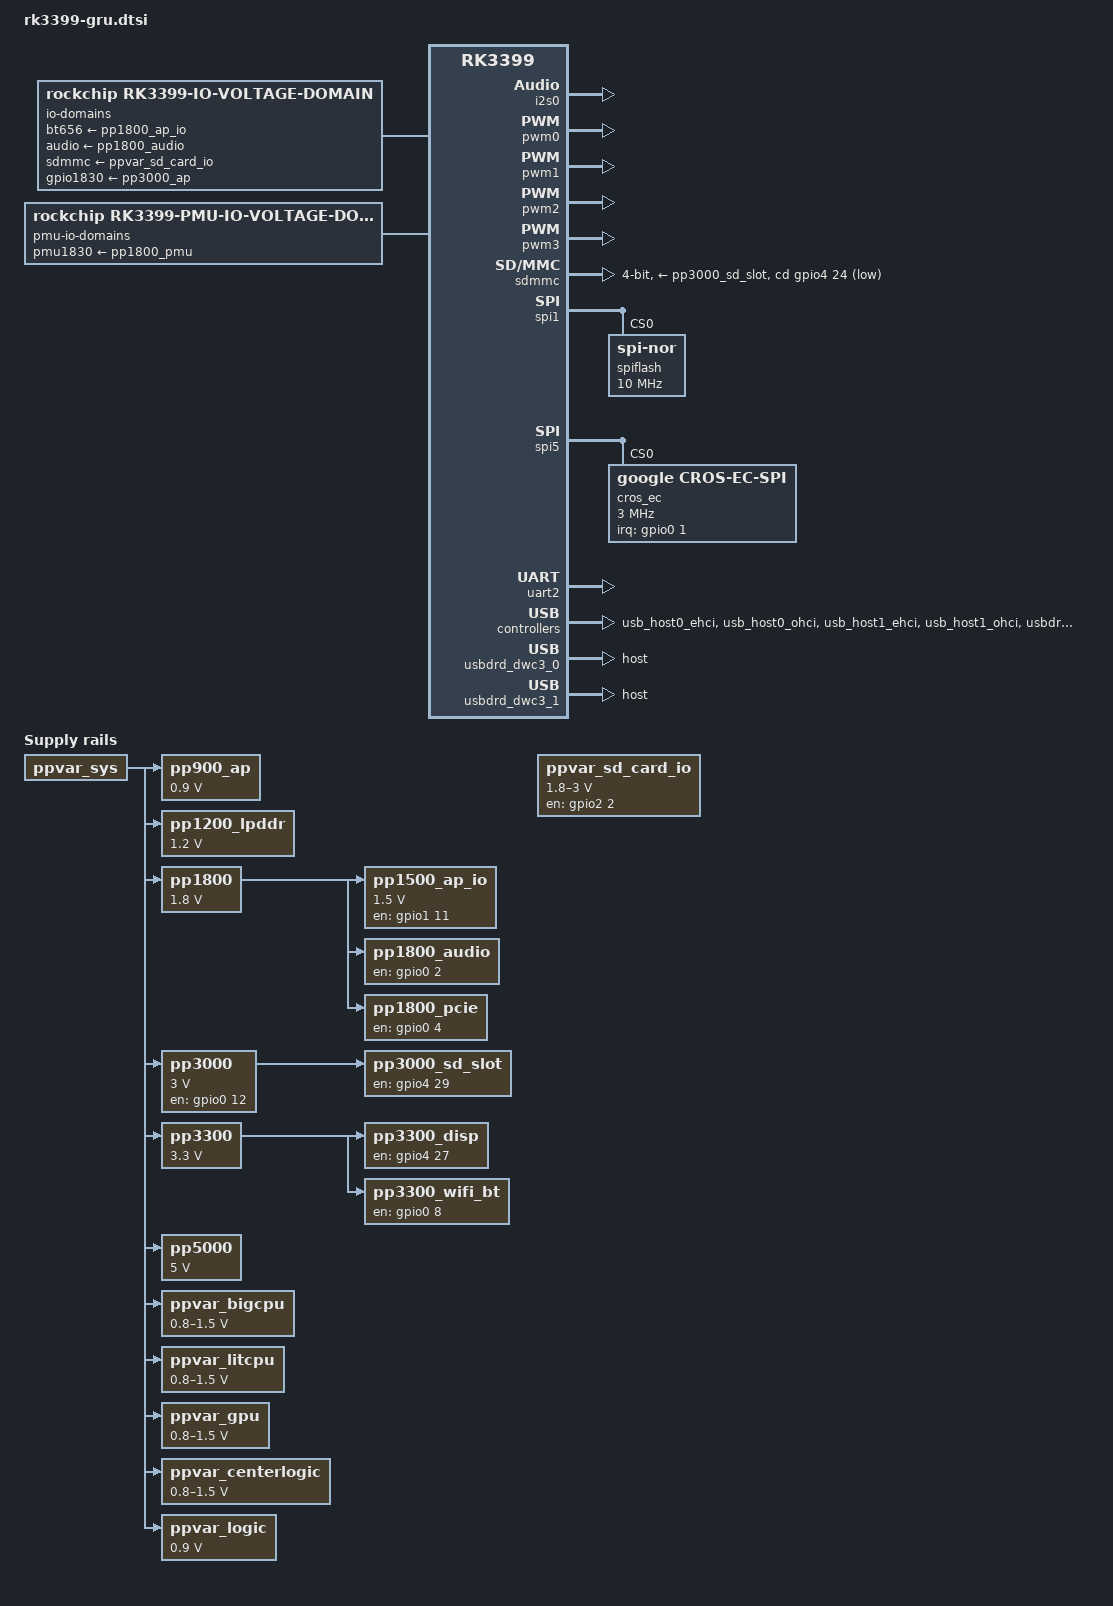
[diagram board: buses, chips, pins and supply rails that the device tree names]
/*
 * Google Gru (and derivatives) board device tree source
 *
 * Copyright 2016 Google, Inc
 *
 * This file is dual-licensed: you can use it either under the terms
 * of the GPL or the X11 license, at your option. Note that this dual
 * licensing only applies to this file, and not this project as a
 * whole.
 *
 *  a) This file is free software; you can redistribute it and/or
 *     modify it under the terms of the GNU General Public License as
 *     published by the Free Software Foundation; either version 2 of the
 *     License, or (at your option) any later version.
 *
 *     This file is distributed in the hope that it will be useful,
 *     but WITHOUT ANY WARRANTY; without even the implied warranty of
 *     MERCHANTABILITY or FITNESS FOR A PARTICULAR PURPOSE.  See the
 *     GNU General Public License for more details.
 *
 *  Or, alternatively,
 *
 *  b) Permission is hereby granted, free of charge, to any person
 *     obtaining a copy of this software and associated documentation
 *     files (the "Software"), to deal in the Software without
 *     restriction, including without limitation the rights to use,
 *     copy, modify, merge, publish, distribute, sublicense, and/or
 *     sell copies of the Software, and to permit persons to whom the
 *     Software is furnished to do so, subject to the following
 *     conditions:
 *
 *     The above copyright notice and this permission notice shall be
 *     included in all copies or substantial portions of the Software.
 *
 *     THE SOFTWARE IS PROVIDED "AS IS", WITHOUT WARRANTY OF ANY KIND,
 *     EXPRESS OR IMPLIED, INCLUDING BUT NOT LIMITED TO THE WARRANTIES
 *     OF MERCHANTABILITY, FITNESS FOR A PARTICULAR PURPOSE AND
 *     NONINFRINGEMENT. IN NO EVENT SHALL THE AUTHORS OR COPYRIGHT
 *     HOLDERS BE LIABLE FOR ANY CLAIM, DAMAGES OR OTHER LIABILITY,
 *     WHETHER IN AN ACTION OF CONTRACT, TORT OR OTHERWISE, ARISING
 *     FROM, OUT OF OR IN CONNECTION WITH THE SOFTWARE OR THE USE OR
 *     OTHER DEALINGS IN THE SOFTWARE.
 */

#include <dt-bindings/input/input.h>
#include <dt-bindings/pwm/pwm.h>
#include "rk3399.dtsi"

/ {
	/*
	 * Power Tree
	 *
	 * In general an attempt is made to include all rails called out by
	 * the schematic as long as those rails interact in some way with
	 * the AP.  AKA:
	 * - Rails that only connect to the EC (or devices that the EC talks to)
	 *   are not included.
	 * - Rails _are_ included if the rails go to the AP even if the AP
	 *   doesn't currently care about them / they are always on.  The idea
	 *   here is that it makes it easier to map to the schematic or extend
	 *   later.
	 *
	 * If two rails are substantially the same from the AP's point of
	 * view, though, we won't create a full fixed regulator.  We'll just
	 * put the child rail as an alias of the parent rail.  Sometimes rails
	 * look the same to the AP because one of these is true:
	 * - The EC controls the enable and the EC always enables a rail as
	 *   long as the AP is running.
	 * - The rails are actually connected to each other by a jumper and
	 *   the distinction is just there to add clarity/flexibility to the
	 *   schematic.
	 */

	/* parentless regulators */

	ppvar_sys: ppvar-sys {
		compatible = "regulator-fixed";
		regulator-name = "ppvar_sys";
		regulator-always-on;
		regulator-boot-on;
	};

	/* ppvar_sys children, sorted by name */

	pp900_ap: pp900-ap {
		compatible = "regulator-fixed";
		regulator-name = "pp900_ap";

		/* EC turns on w/ pp900_ap_en; always on for AP */
		regulator-always-on;
		regulator-boot-on;

		regulator-min-microvolt = <900000>;
		regulator-max-microvolt = <900000>;

		vin-supply = <&ppvar_sys>;
	};

	pp1200_lpddr: pp1200-lpddr {
		compatible = "regulator-fixed";
		regulator-name = "pp1200_lpddr";

		/* EC turns on w/ lpddr_pwr_en; always on for AP */
		regulator-always-on;
		regulator-boot-on;

		regulator-min-microvolt = <1200000>;
		regulator-max-microvolt = <1200000>;

		vin-supply = <&ppvar_sys>;
	};

	pp1800: pp1800 {
		compatible = "regulator-fixed";
		regulator-name = "pp1800";

		/* Always on when ppvar_sys shows power good */
		regulator-always-on;
		regulator-boot-on;

		regulator-min-microvolt = <1800000>;
		regulator-max-microvolt = <1800000>;
		vin-supply = <&ppvar_sys>;
	};

	pp3000: pp3000 {
		compatible = "regulator-fixed";
		regulator-name = "pp3000";
		pinctrl-names = "default";
		pinctrl-0 = <&pp3000_en>;

		enable-active-high;
		gpio = <&gpio0 12 GPIO_ACTIVE_HIGH>;

		regulator-always-on;
		regulator-boot-on;

		regulator-min-microvolt = <3000000>;
		regulator-max-microvolt = <3000000>;

		vin-supply = <&ppvar_sys>;
	};

	pp3300: pp3300 {
		compatible = "regulator-fixed";
		regulator-name = "pp3300";

		/* Always on; plain and simple */
		regulator-always-on;
		regulator-boot-on;

		regulator-min-microvolt = <3300000>;
		regulator-max-microvolt = <3300000>;

		vin-supply = <&ppvar_sys>;
	};

	pp5000: pp5000 {
		compatible = "regulator-fixed";
		regulator-name = "pp5000";

		/* EC turns on w/ pp5000_en; always on for AP */
		regulator-always-on;
		regulator-boot-on;

		regulator-min-microvolt = <5000000>;
		regulator-max-microvolt = <5000000>;

		vin-supply = <&ppvar_sys>;
	};

	ppvar_bigcpu: ppvar-bigcpu {
		compatible = "pwm-regulator";
		regulator-name = "ppvar_bigcpu";
		status = "okay";

		pwms = <&pwm1 0 3333 0>;

		// TODO: where's the mapping of duty cycle to voltage???
		// TODO: we probably need in-flight PWM regulator series?

		/* EC turns on w/ ap_core_en; always on for AP */
		regulator-always-on;
		regulator-boot-on;

		regulator-min-microvolt = <800000>;
		regulator-max-microvolt = <1500000>;

		pwm-supply = <&ppvar_sys>;
	};

	ppvar_litcpu: ppvar-litcpu {
		compatible = "pwm-regulator";
		regulator-name = "ppvar_litcpu";
		status = "okay";

		pwms = <&pwm2 0 3333 0>;

		/* EC turns on w/ ap_core_en; always on for AP */
		regulator-always-on;
		regulator-boot-on;

		regulator-min-microvolt = <800000>;
		regulator-max-microvolt = <1500000>;

		pwm-supply = <&ppvar_sys>;
	};

	ppvar_gpu: ppvar-gpu {
		compatible = "pwm-regulator";
		regulator-name = "ppvar_gpu";
		status = "okay";

		pwms = <&pwm0 0 3333 0>;

		/* EC turns on w/ ap_core_en; always on for AP */
		regulator-always-on;
		regulator-boot-on;

		regulator-min-microvolt = <800000>;
		regulator-max-microvolt = <1500000>;

		pwm-supply = <&ppvar_sys>;
	};

	ppvar_centerlogic: ppvar-centerlogic {
		compatible = "pwm-regulator";
		regulator-name = "ppvar_centerlogic";
		status = "okay";

		pwms = <&pwm3 0 3333 0>;

		/* EC turns on w/ ppvar_centerlogic_en; always on for AP */
		regulator-always-on;
		regulator-boot-on;

		regulator-min-microvolt = <800000>;
		regulator-max-microvolt = <1500000>;

		pwm-supply = <&ppvar_sys>;
	};

	/* Schematics call this PPVAR even though it's fixed */
	ppvar_logic: ppvar-logic {
		compatible = "regulator-fixed";
		regulator-name = "ppvar_logic";

		/* EC turns on w/ ppvar_logic_en; always on for AP */
		regulator-always-on;
		regulator-boot-on;

		regulator-min-microvolt = <900000>;
		regulator-max-microvolt = <900000>;

		vin-supply = <&ppvar_sys>;
	};

	/* pp900_ap aliases; these are always on for AP so just use alias */

	/* EC turns on w/ pp900_ddrpll_en */
	pp900_ddrpll: pp900_ap {
	};

	/* EC turns on w/ pp900_pcie_en */
	pp900_pcie: pp900_ap {
	};

	/* EC turns on w/ pp900_pll_en */
	pp900_pll: pp900_ap {
	};

	/* EC turns on w/ pp900_pmu_en */
	pp900_pmu: pp900_ap {
	};

	/* EC turns on w/ pp900_usb_en */
	pp900_usb: pp900_ap {
	};

	/* pp1800 aliases; these are always on for AP so just use alias */

	/* EC turns on w/ pp1800_s0_en_l */
	pp1800_ap_io: pp1800_emmc: pp1800_nfc: pp1800_s0: pp1800 {
	};

	/* EC turns on w/ pp1800_avdd_en_l */
	pp1800_avdd: pp1800 {
	};

	/* EC turns on w/ pp1800_lid_en_l */
	pp1800_lid: pp1800_mic: pp1800 {
	};

	/* EC turns on w/ lpddr_pwr_en */
	pp1800_lpddr: pp1800 {
	};

	/* EC turns on w/ pp1800_pmu_en_l */
	pp1800_pmu: pp1800 {
	};

	/* EC turns on w/ pp1800_usb_en_l */
	pp1800_usb: pp1800 {
	};

	/* pp1800 children */

	pp1500_ap_io: pp1500-ap-io {
		compatible = "regulator-fixed";
		regulator-name = "pp1500_ap_io";
		pinctrl-names = "default";
		pinctrl-0 = <&pp1500_en>;

		enable-active-high;
		gpio = <&gpio1 11 GPIO_ACTIVE_HIGH>;

		regulator-always-on;
		regulator-boot-on;
		regulator-min-microvolt = <1500000>;
		regulator-max-microvolt = <1500000>;

		vin-supply = <&pp1800>;
	};

	pp1800_audio: pp1800-audio {
		compatible = "regulator-fixed";
		regulator-name = "pp1800_audio";
		pinctrl-names = "default";
		pinctrl-0 = <&pp1800_audio_en>;

		regulator-always-on;
		regulator-boot-on;

		enable-active-high;
		gpio = <&gpio0 2 GPIO_ACTIVE_HIGH>;

		vin-supply = <&pp1800>;
	};

	pp1800_pcie: pp1800-pcie {
		compatible = "regulator-fixed";
		regulator-name = "pp1800_pcie";
		pinctrl-names = "default";
		pinctrl-0 = <&wlan_module_pd_l>;

		enable-active-high;
		gpio = <&gpio0 4 GPIO_ACTIVE_HIGH>;

		vin-supply = <&pp1800>;
	};

	/* pp3000 aliases; these are always on for AP so just use alias */

	/* Always on; plain and simple */
	pp3000_ap: pp3000_emmc: pp3000 {
	};

	/* pp3000 children */

	pp3000_sd_slot: pp3000-sd-slot {
		compatible = "regulator-fixed";
		regulator-name = "pp3000_sd_slot";
		pinctrl-names = "default";
		pinctrl-0 = <&sd_slot_pwr_en>;

		enable-active-high;
		gpio = <&gpio4 29 GPIO_ACTIVE_HIGH>;

		vin-supply = <&pp3000>;
	};

	ppvar_sd_card_io: ppvar-sd-card-io {
		compatible = "regulator-gpio";
		regulator-name = "ppvar_sd_card_io";
		pinctrl-names = "default";
		pinctrl-0 = <&sd_io_pwr_en &sd_pwr_1800_sel>;

		enable-active-high;
		enable-gpio = <&gpio2 2 GPIO_ACTIVE_HIGH>;
		gpios = <&gpio2 28 GPIO_ACTIVE_HIGH>;
		states = <1800000 0x1
			  3000000 0x0>;

		regulator-min-microvolt = <1800000>;
		regulator-max-microvolt = <3000000>;

		// TODO: add support in driver for input supplies.
		// ...and specify pp3000 and pp1800.
	};

	/* pp3300 aliases; these are always on for AP so just use alias */

	/* EC turns on w/ pp3300_trackpad_en_l */
	pp3300_trackpad: pp3300-trackpad {
	};

	/* EC turns on w/ pp3300_usb_en_l */
	pp3300_usb: pp3300 {
	};

	/* pp3300 children */

	// TODO: this regulator should get referenced by the
	// EC<-->AP backlight driver. See http://crosbug.com/p/52005
	pp3300_disp: pp3300-disp {
		compatible = "regulator-fixed";
		regulator-name = "pp3300_disp";
		pinctrl-names = "default";
		pinctrl-0 = <&pp3300_disp_en>;

		enable-active-high;

		gpio = <&gpio4 27 GPIO_ACTIVE_HIGH>;

		vin-supply = <&pp3300>;
	};

	pp3300_wifi_bt:pp3300-wifi-bt {
		compatible = "regulator-fixed";
		regulator-name = "pp3300_wifi_bt";
		/* NOTE: wlan_module_pd_l pinctrl in pp1800_pcie */

		regulator-always-on;			// TODO: for bringup???
		regulator-boot-on;			// TODO: for bringup???
		enable-active-high;

		// TODO: I _think_ it's OK to specify the same GPIO in two
		// regulator-fixed regulators.  See pp1800_pcie
		gpio = <&gpio0 8 GPIO_ACTIVE_HIGH>;

		vin-supply = <&pp3300>;
	};


	/* END REGULATORS */

	io-domains {
		compatible = "rockchip,rk3399-io-voltage-domain";
		rockchip,grf = <&grf>;

		bt656-supply = <&pp1800_ap_io>;		/* APIO2_VDD;  2a 2b */
		audio-supply = <&pp1800_audio>;		/* APIO5_VDD;  3d 4a */
		sdmmc-supply = <&ppvar_sd_card_io>;	/* SDMMC0_VDD; 4b    */
		gpio1830-supply = <&pp3000_ap>;		/* APIO4_VDD;  4c 4d */
	};

	pmu-io-domains {
		compatible = "rockchip,rk3399-pmu-io-voltage-domain";
		rockchip,grf = <&pmugrf>;

		pmu1830-supply = <&pp1800_pmu>;		/* PMUIO2_VDD */
	};
};

&cpu_l0 {
	cpu-supply = <&ppvar_litcpu>;
};

&cpu_l1 {
	cpu-supply = <&ppvar_litcpu>;
};

&cpu_l2 {
	cpu-supply = <&ppvar_litcpu>;
};

&cpu_l3 {
	cpu-supply = <&ppvar_litcpu>;
};

&cpu_b0 {
	cpu-supply = <&ppvar_bigcpu>;
};

&cpu_b1 {
	cpu-supply = <&ppvar_bigcpu>;
};

&i2s0 {
	status = "okay";
};

&pwm0 {
	status = "okay";
};

&pwm1 {
	status = "okay";
};

&pwm2 {
	status = "okay";
};

&pwm3 {
	status = "okay";
};

&sdmmc {
	status = "okay";

	/*
	 * Note: configure "sdmmc_cd" as card detect even though it's actually
	 * hooked to ground.  Because we specified "cd-gpios" below dw_mmc
	 * should be ignoring card detect anyway.  Specifying the pin as
	 * sdmmc_cd means that even if you've got GRF_SOC_CON7[12] (force_jtag)
	 * turned on that the system will still make sure the port is
	 * configured as SDMMC and not JTAG.
	 */
	pinctrl-names = "default";
	pinctrl-0 = <&sdmmc_clk &sdmmc_cmd &sdmmc_cd &sdmmc_cd_gpio
		     &sdmmc_bus4>;

	// HACK: Limit freq for now
	// ...as of 160330 confirmed that things break if you remove this.
	clock-frequency = <37500000>;
	clock-freq-min-max = <400000 37500000>;

	bus-width = <4>;
	cd-gpios = <&gpio4 24 GPIO_ACTIVE_LOW>;
	disable-wp;

	cap-mmc-highspeed;
	cap-sd-highspeed;

	// TODO: enable once tested...
	//sd-uhs-sdr12;
	//sd-uhs-sdr25;
	//sd-uhs-sdr50;
	//sd-uhs-sdr104;

	vmmc-supply = <&pp3000_sd_slot>;
	vqmmc-supply = <&ppvar_sd_card_io>;
};

&spi1 {
	status = "okay";

	spiflash@0 {
		compatible = "jedec,spi-nor";

		// TODO: can run faster once verified.
		// TODO: add rx-sample-delay-ns.
		spi-max-frequency = <10000000>;
		reg = <0>;
	};
};

&spi5 {
	status = "okay";

	cros_ec: ec@0 {
		compatible = "google,cros-ec-spi";
		reg = <0>;
		pinctrl-names = "default";
		pinctrl-0 = <&ec_ap_int_l>;

		google,cros-ec-spi-pre-delay = <30>;	// TODO: check
		interrupt-parent = <&gpio0>;
		interrupts = <1 IRQ_TYPE_LEVEL_LOW>;
		spi-max-frequency = <3000000>;		// TODO: check; TODO: rx-sample-delay-ns?

		i2c_tunnel: i2c-tunnel {
			compatible = "google,cros-ec-i2c-tunnel";
			google,remote-bus = <0>;
			#address-cells = <1>;
			#size-cells = <0>;
		};
	};
};

&uart2 {
	status = "okay";
};

&usb_host0_ehci {
	status = "okay";
};

&usb_host0_ohci {
	status = "okay";
};

&usb_host1_ehci {
	status = "okay";
};

&usb_host1_ohci {
	status = "okay";
};

&usbdrd3_0 {
	status = "okay";
};

&usbdrd_dwc3_0 {
	status = "okay";
	dr_mode = "host";
};

&usbdrd3_1 {
	status = "okay";
};

&usbdrd_dwc3_1 {
	status = "okay";
	dr_mode = "host";
};

/* PINCTRL: always below everything else */

&pinctrl {
	pcfg_output_high: pcfg-output-high {
		output-high;
	};

	cros-ec {
		ec_ap_int_l: ec-ap-int-l {
			rockchip,pins = <RK_GPIO0 1 RK_FUNC_GPIO &pcfg_pull_up>;
		};
	};

	discrete-regulators {
		pp1500_en: pp1500-en {
			rockchip,pins = <RK_GPIO0 10 RK_FUNC_GPIO
					 &pcfg_pull_none>;
		};

		pp1800_audio_en: pp1800-audio-en {
			rockchip,pins = <RK_GPIO0 2 RK_FUNC_GPIO
					 &pcfg_pull_down>;
		};

		pp3300_disp_en: pp3300-disp-en {
			rockchip,pins = <RK_GPIO4 27 RK_FUNC_GPIO
					 &pcfg_pull_none>;
		};

		pp3000_en: pp3000-en {
			rockchip,pins = <RK_GPIO0 12 RK_FUNC_GPIO
					 &pcfg_pull_none>;
		};

		sd_io_pwr_en: sd-io-pwr-en {
			rockchip,pins = <RK_GPIO2 2 RK_FUNC_GPIO
					 &pcfg_pull_none>;
		};

		sd_pwr_1800_sel: sd-pwr-1800-sel {
			rockchip,pins = <RK_GPIO2 28 RK_FUNC_GPIO
					 &pcfg_pull_none>;
		};

		sd_slot_pwr_en: sd-slot-pwr-en {
			rockchip,pins = <RK_GPIO4 29 RK_FUNC_GPIO
					 &pcfg_pull_none>;
		};

		wlan_module_pd_l: wlan-module-pd-l {
			rockchip,pins = <RK_GPIO0 4 RK_FUNC_GPIO
					 &pcfg_pull_down>;
		};
	};

	codec {
		/* Has external pullup */
		headset_int_l: headset-int-l {
			rockchip,pins = <1 23 RK_FUNC_GPIO &pcfg_pull_none>;
		};

		// TODO: check pull.  From signal name assume active high.
		mic_int: mic-int {
			rockchip,pins = <1 13 RK_FUNC_GPIO &pcfg_pull_down>;
		};
	};

	sdmmc {
		/*
		 * We have external pulls on SDMMC, so disable internals
		 *
		 * TODO:
		 * - On veyron we found that we needed to drive at 8mA.  Do we
		 *   need to that here?  If so, 8mA or 12mA?
		 */
		sdmmc_bus4: sdmmc-bus4 {
			rockchip,pins =
				<4 8 RK_FUNC_1 &pcfg_pull_none>,
				<4 9 RK_FUNC_1 &pcfg_pull_none>,
				<4 10 RK_FUNC_1 &pcfg_pull_none>,
				<4 11 RK_FUNC_1 &pcfg_pull_none>;
		};

		sdmmc_clk: sdmmc-clk {
			rockchip,pins =
				<4 12 RK_FUNC_1 &pcfg_pull_none>;
		};

		sdmmc_cmd: sdmmc-cmd {
			rockchip,pins =
				<4 13 RK_FUNC_1 &pcfg_pull_none>;
		};

		/*
		 * In our case the official card detect is hooked to ground
		 * to avoid getting access to JTAG just by sticking something
		 * in the SD card slot (see the force_jtag bit in the TRM).
		 *
		 * We still configure it as card detect because it doesn't
		 * hurt and dw_mmc will ignore it.  We make sure to disable
		 * the pull though so we don't burn needless power.
		 */
		sdmmc_cd: sdmcc-cd {
			rockchip,pins =
				<0 7 RK_FUNC_1 &pcfg_pull_none>;
		};

		/* This is where we actually hook up CD; has external pull */
		sdmmc_cd_gpio: sdmmc-cd-gpio {
			rockchip,pins = <4 24 RK_FUNC_GPIO &pcfg_pull_none>;
		};
	};

	trackpad {
		ap_i2c_tp_pu_en: ap-i2c-tp-pu-en {
			rockchip,pins = <3 12 RK_FUNC_GPIO &pcfg_output_high>;
		};

		trackpad_int_l: trackpad-int-l {
			rockchip,pins = <1 4 RK_FUNC_GPIO &pcfg_pull_up>;
		};
	};

	touchscreen {
		touch_int_l: touch-int-l {
			rockchip,pins = <3 13 RK_FUNC_GPIO &pcfg_pull_up>;
		};
	};

	backlight-enable {
		bl_en: bl-en {
			rockchip,pins = <1 17 RK_FUNC_GPIO &pcfg_pull_none>;
		};
	};
};

/* DON'T PUT ANYTHING BELOW HERE.  PUT IT ABOVE PINCTRL */
/* DON'T PUT ANYTHING BELOW HERE.  PUT IT ABOVE PINCTRL */
/* DON'T PUT ANYTHING BELOW HERE.  PUT IT ABOVE PINCTRL */

